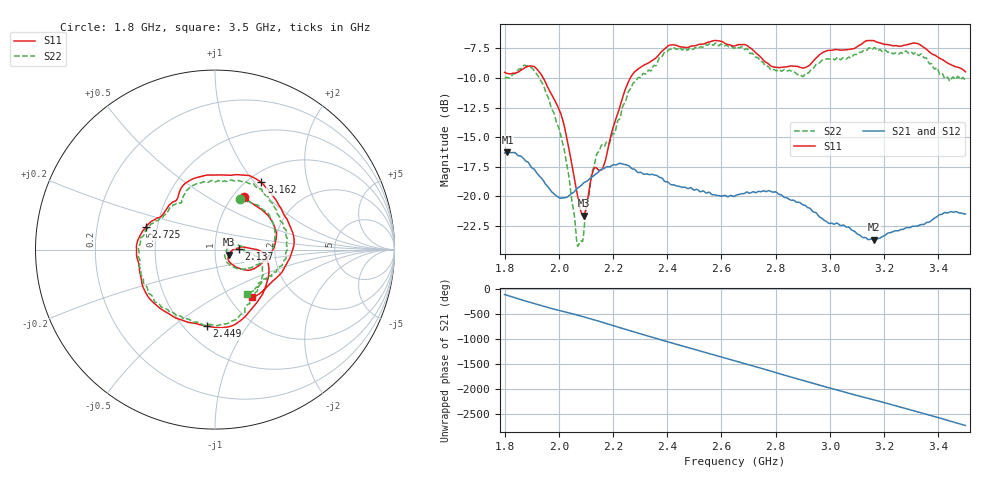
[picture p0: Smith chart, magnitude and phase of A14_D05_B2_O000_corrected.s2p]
! Created with skrf 1.9.0 (http://scikit-rf.org).
# Hz S RI R 50.0
!freq ReS11 ImS11 ReS21 ImS21 ReS12 ImS12 ReS22 ImS22
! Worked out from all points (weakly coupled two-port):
!   1601 points, 1.8 GHz to 3.5 GHz, reference 50 ohm
!   highest |S21| = -16.27 dB at 1.811 GHz (marker M1); lowest = -23.7 dB at 3.163 GHz (marker M2)
!   lowest |S11| = -21.7 dB at 2.091 GHz (marker M3), VSWR 1.18, Z = 58.3 - j3.37 ohm
!   |S11| at or under -10 dB: 1.943 GHz to 2.264 GHz (320.8 MHz wide, 15.3 % of centre)
!   |S22| runs from -24.2 to -7.0 dB; largest |S21 - S12| = 0.0028
!   S11 on the Smith chart (normalised r, x): 1.8 GHz: 1.13, +0.74; 2.137 GHz: 1.30, +0.01; 2.449 GHz: 0.64, -0.67; 2.725 GHz: 0.43, +0.13; 3.162 GHz: 1.15, +1.09; 3.5 GHz: 1.27, -0.76
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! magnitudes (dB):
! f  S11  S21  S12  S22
! 1.8 GHz  -9.5  -16.4  -16.4  -10.0
! 1.811 GHz  -9.6  -16.3  -16.3  -9.9
! 1.881 GHz  -9.1  -17.1  -17.1  -9.0
! 1.941 GHz  -9.9  -18.6  -18.6  -10.5
! 2.014 GHz  -13.5  -20.2  -20.2  -15.5
! 2.068 GHz  -19.8  -19.3  -19.4  -24.1
! 2.084 GHz  -21.4  -19.1  -19.0  -23.8
! 2.091 GHz  -21.7  -18.9  -18.9  -23.3
! 2.137 GHz  -17.6  -18.1  -18.1  -16.7
! 2.166 GHz  -17.4  -17.7  -17.6  -15.8
! 2.265 GHz  -9.9  -17.6  -17.6  -10.9
! 2.367 GHz  -8.1  -18.4  -18.3  -8.5
! 2.449 GHz  -7.4  -19.2  -19.2  -7.5
! 2.65 GHz  -7.3  -20.0  -20.0  -7.5
! 2.725 GHz  -7.8  -19.7  -19.7  -8.2
! 2.796 GHz  -9.1  -19.6  -19.6  -9.3
! 2.934 GHz  -8.7  -21.2  -21.2  -9.2
! 3.162 GHz  -6.8  -23.7  -23.7  -7.5
! 3.163 GHz  -6.8  -23.7  -23.7  -7.4
! 3.217 GHz  -7.2  -23.1  -23.1  -7.8
! 3.324 GHz  -7.1  -22.5  -22.5  -8.0
! 3.5 GHz  -9.5  -21.5  -21.5  -10.3
